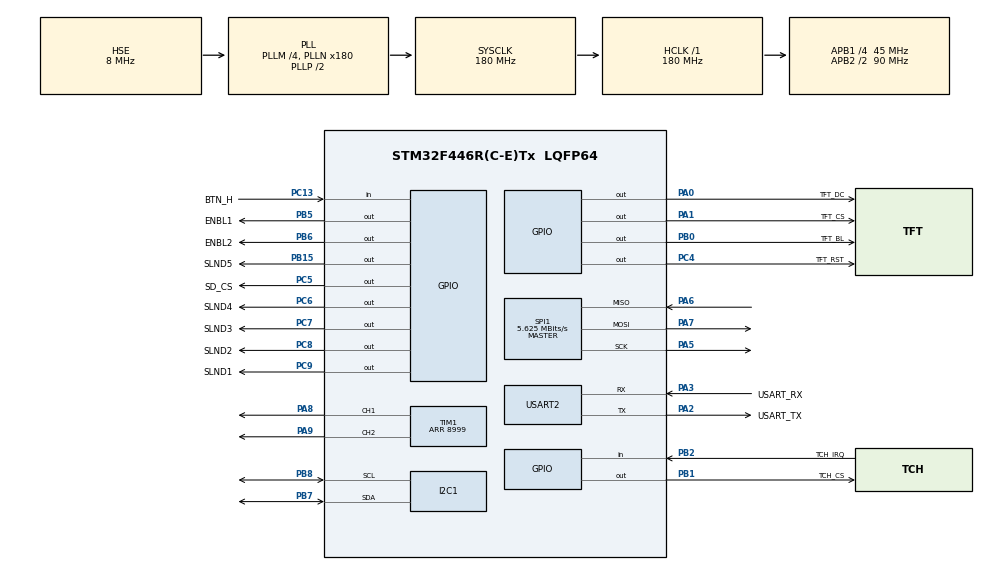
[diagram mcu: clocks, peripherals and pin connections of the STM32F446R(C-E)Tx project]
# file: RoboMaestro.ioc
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I2C1.I2C_Mode=I2C_Fast
Mcu.Family=STM32F4
Mcu.Name=STM32F446R(C-E)Tx
Mcu.Package=LQFP64
NVIC.PriorityGroup=NVIC_PRIORITYGROUP_0
NVIC.TIM3_IRQn=true\:0\:0\:false\:false\:true\:true\:true\:true
NVIC.USART2_IRQn=true\:0\:0\:false\:false\:true\:true\:true\:true
PA0-WKUP.GPIO_Label=TFT_DC
PA0-WKUP.Signal=GPIO_Output
PA1.GPIO_Label=TFT_CS
PA1.Signal=GPIO_Output
PA13.GPIO_Label=TMS
PA13.Mode=Serial_Wire
PA13.Signal=SYS_JTMS-SWDIO
PA14.GPIO_Label=TCK
PA14.Mode=Serial_Wire
PA14.Signal=SYS_JTCK-SWCLK
PA2.GPIO_Label=USART_TX
PA2.Mode=Asynchronous
PA2.Signal=USART2_TX
PA3.GPIO_Label=USART_RX
PA3.Mode=Asynchronous
PA3.Signal=USART2_RX
PA5.Mode=Full_Duplex_Master
PA5.Signal=SPI1_SCK
PA6.Mode=Full_Duplex_Master
PA6.Signal=SPI1_MISO
PA7.Mode=Full_Duplex_Master
PA7.Signal=SPI1_MOSI
PA8.Signal=S_TIM1_CH1
PA9.Signal=S_TIM1_CH2
PB0.GPIO_Label=TFT_BL
PB0.Signal=GPIO_Output
PB1.GPIO_Label=TCH_CS
PB1.Signal=GPIO_Output
PB15.GPIO_Label=SLND5
PB15.Signal=GPIO_Output
PB2.GPIO_Label=TCH_IRQ
PB2.GPIO_PuPd=GPIO_PULLUP
PB2.Signal=GPIO_Input
PB3.GPIO_Label=SWO
PB3.Signal=SYS_JTDO-SWO
PB5.GPIO_Label=ENBL1
PB5.Signal=GPIO_Output
PB6.GPIO_Label=ENBL2
PB6.Signal=GPIO_Output
PB7.Mode=I2C
PB7.Signal=I2C1_SDA
PB8.Mode=I2C
PB8.Signal=I2C1_SCL
PC13.GPIO_Label=BTN_H
PC13.Signal=GPIO_Input
PC14-OSC32_IN.Mode=LSE-External-Oscillator
PC14-OSC32_IN.Signal=RCC_OSC32_IN
PC15-OSC32_OUT.Mode=LSE-External-Oscillator
PC15-OSC32_OUT.Signal=RCC_OSC32_OUT
PC4.GPIO_Label=TFT_RST
PC4.Signal=GPIO_Output
PC5.GPIO_Label=SD_CS
PC5.Signal=GPIO_Output
PC6.GPIO_Label=SLND4
PC6.Signal=GPIO_Output
PC7.GPIO_Label=SLND3
PC7.Signal=GPIO_Output
PC8.GPIO_Label=SLND2
PC8.Signal=GPIO_Output
PC9.GPIO_Label=SLND1
PC9.Signal=GPIO_Output
PH0-OSC_IN.Mode=HSE-External-Oscillator
PH0-OSC_IN.Signal=RCC_OSC_IN
PH1-OSC_OUT.Mode=HSE-External-Oscillator
PH1-OSC_OUT.Signal=RCC_OSC_OUT
ProjectManager.HeapSize=0x200
ProjectManager.StackSize=0x400
ProjectManager.TargetToolchain=CMake
RCC.48MHZClocksFreq_Value=84000000
RCC.AHBFreq_Value=180000000
RCC.APB1CLKDivider=RCC_HCLK_DIV4
RCC.APB1Freq_Value=45000000
RCC.APB1TimFreq_Value=90000000
RCC.APB2CLKDivider=RCC_HCLK_DIV2
RCC.APB2Freq_Value=90000000
RCC.APB2TimFreq_Value=180000000
RCC.CortexFreq_Value=180000000
RCC.FLatency-AdvancedSettings=FLASH_LATENCY_5
RCC.HCLKFreq_Value=180000000
RCC.HSE_VALUE=8000000
RCC.HSI_VALUE=16000000
RCC.PLLM=4
RCC.PLLN=180
RCC.PLLSAIM=8
RCC.PLLSAIP=RCC_PLLSAIP_DIV4
RCC.PLLSourceVirtual=RCC_PLLSOURCE_HSE
RCC.SYSCLKFreq_VALUE=180000000
RCC.SYSCLKSource=RCC_SYSCLKSOURCE_PLLCLK
RCC.USBCLockSelection=RCC_CLK48CLKSOURCE_PLLSAIP
RCC.USBFreq_Value=48000000
RCC.VCOOutputFreq_Value=360000000
SH.S_TIM1_CH1.0=TIM1_CH1,PWM Generation1 CH1
SH.S_TIM1_CH2.0=TIM1_CH2,PWM Generation2 CH2
SPI1.BaudRatePrescaler=SPI_BAUDRATEPRESCALER_16
SPI1.CalculateBaudRate=5.625 MBits/s
SPI1.Direction=SPI_DIRECTION_2LINES
SPI1.Mode=SPI_MODE_MASTER
SPI1.VirtualType=VM_MASTER
TIM1.Channel-PWM\ Generation1\ CH1=TIM_CHANNEL_1
TIM1.Channel-PWM\ Generation2\ CH2=TIM_CHANNEL_2
TIM1.Period=8999
TIM3.Period=99
TIM3.Prescaler=8999
USART2.VirtualMode=VM_ASYNC
VP_TIM1_VS_ClockSourceINT.Mode=Internal
VP_TIM3_VS_ClockSourceINT.Mode=Internal
board=NUCLEO-F446RE

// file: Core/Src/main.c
/* USER CODE BEGIN Header */
/**
  ******************************************************************************
  * @file           : main.c
  * @brief          : Main program body
  ******************************************************************************
  * @attention
  *
  * Copyright (c) 2026 STMicroelectronics.
  * All rights reserved.
  *
  * This software is licensed under terms that can be found in the LICENSE file
  * in the root directory of this software component.
  * If no LICENSE file comes with this software, it is provided AS-IS.
  *
  ******************************************************************************
  */
/* USER CODE END Header */
#include "main.h"

/* USER CODE BEGIN Includes */
#include "as5600_position.h"
#include "motor_control.h"
#include "actuator.h"
#include "ili9341.h"
#include "xpt2046.h"
#include "menu.h"

#include <stdint.h>
#include <string.h>
/* USER CODE END Includes */

I2C_HandleTypeDef hi2c1;

SPI_HandleTypeDef hspi1;

TIM_HandleTypeDef htim1;
TIM_HandleTypeDef htim3;

UART_HandleTypeDef huart2;

/* USER CODE BEGIN PV */

static const GPIO_Pin_t g_fingers[5] = {
    {GPIOC, SLND1_Pin},
    {GPIOC, SLND2_Pin},
    {GPIOC, SLND3_Pin},
    {GPIOC, SLND4_Pin},
    {GPIOB, SLND5_Pin},
};

/* USER CODE END PV */

void SystemClock_Config(void);
static void MX_GPIO_Init(void);
static void MX_TIM1_Init(void);
static void MX_USART2_UART_Init(void);
static void MX_TIM3_Init(void);
static void MX_I2C1_Init(void);
static void MX_SPI1_Init(void);
/* USER CODE BEGIN PFP */
void MotorControl_ExtCommand(const char *cmd);
/* USER CODE END PFP */

/* USER CODE BEGIN 0 */

// SPI1 Shared for LCD, Touchscreen
static uint8_t spi1_txrx(uint8_t byte)
{
    uint8_t rx = 0;
    HAL_SPI_TransmitReceive(&hspi1, &byte, &rx, 1, HAL_MAX_DELAY);
    return rx;
}

// LCD GPIO
static void lcd_set_cs(int v)
{
    if (v) HAL_GPIO_WritePin(TFT_CS_GPIO_Port, TFT_CS_Pin, GPIO_PIN_SET);
    else   HAL_GPIO_WritePin(TFT_CS_GPIO_Port, TFT_CS_Pin, GPIO_PIN_RESET);
}

static void lcd_set_dc(int v)
{
    if (v) HAL_GPIO_WritePin(TFT_DC_GPIO_Port, TFT_DC_Pin, GPIO_PIN_SET);
    else   HAL_GPIO_WritePin(TFT_DC_GPIO_Port, TFT_DC_Pin, GPIO_PIN_RESET);
}

static void lcd_set_rst(int v)
{
    if (v) HAL_GPIO_WritePin(TFT_RST_GPIO_Port, TFT_RST_Pin, GPIO_PIN_SET);
    else   HAL_GPIO_WritePin(TFT_RST_GPIO_Port, TFT_RST_Pin, GPIO_PIN_RESET);
}

// Touch Screen GPIO
static void tch_set_cs(int v)
{
    if (v) HAL_GPIO_WritePin(TCH_CS_GPIO_Port, TCH_CS_Pin, GPIO_PIN_SET);
    else   HAL_GPIO_WritePin(TCH_CS_GPIO_Port, TCH_CS_Pin, GPIO_PIN_RESET);
}

static int tch_read_irq(void)
{
    return HAL_GPIO_ReadPin(TCH_IRQ_GPIO_Port, TCH_IRQ_Pin);
}

/* Strong override: drive solenoid finger from the test screen */
void menu_test_finger(int idx, bool on)
{
    if (idx < 0 || idx >= 5) return;
    Actuator_SetState(on ? GPIO_PIN_SET : GPIO_PIN_RESET, 1, g_fingers[idx]);
}
/* USER CODE END 0 */

int main(void)
{

  /* MCU Configuration--------------------------------------------------------*/

  /* Reset of all peripherals, Initializes the Flash interface and the Systick. */
  HAL_Init();

  /* Configure the system clock */
  SystemClock_Config();

  /* Initialize all configured peripherals */
  MX_GPIO_Init();
  MX_TIM1_Init();
  MX_USART2_UART_Init();
  MX_TIM3_Init();
  MX_I2C1_Init();
  MX_SPI1_Init();
  /* USER CODE BEGIN 2 */

  // Deassert all SPI CS pins before driving the bus
  lcd_set_cs(1);
  tch_set_cs(1);

  // Init LCD
  ILI9341_Config lcd_cfg = {
    .spi_txrx = spi1_txrx,
    .set_cs   = lcd_set_cs,
    .set_dc   = lcd_set_dc,
    .set_rst  = lcd_set_rst,
    .delay_ms = HAL_Delay,
    .rotation = ROTATION_0,
  };
  ili9341_init(&lcd_cfg);
  HAL_GPIO_WritePin(TFT_BL_GPIO_Port, TFT_BL_Pin, GPIO_PIN_SET);

  // Init touchscreen
  XPT2046_Config tch_cfg = {
    .spi_txrx = spi1_txrx,
    .set_cs   = tch_set_cs,
    .read_irq = tch_read_irq,
  };
  xpt2046_init(&tch_cfg);
  xpt2046_default_cal(ILI9341_WIDTH, ILI9341_HEIGHT);

  menu_init();

  // Init solenoid fingers
  Actuator_Init(5, g_fingers[0], g_fingers[1], g_fingers[2], g_fingers[3], g_fingers[4]);

  // Init AS5600 encoder and motor control
  AS5600_Init();
  MotorControl_Init();

  /* USER CODE END 2 */

  /* Infinite loop */
  while (1)
{

    /* USER CODE BEGIN 3 */
    MotorControl_Process();   /* handle UART commands + stream telemetry */
    menu_update();            /* poll touchscreen and update LCD menu     */
  }
  /* USER CODE END 3 */
}

void SystemClock_Config(void)
{
  RCC_OscInitTypeDef RCC_OscInitStruct = {0};
  RCC_ClkInitTypeDef RCC_ClkInitStruct = {0};

  /** Configure the main internal regulator output voltage
  */
  __HAL_RCC_PWR_CLK_ENABLE();
  __HAL_PWR_VOLTAGESCALING_CONFIG(PWR_REGULATOR_VOLTAGE_SCALE1);

  /** Initializes the RCC Oscillators according to the specified parameters
  * in the RCC_OscInitTypeDef structure.
  */
  RCC_OscInitStruct.OscillatorType = RCC_OSCILLATORTYPE_HSE;
  RCC_OscInitStruct.HSEState = RCC_HSE_ON;
  RCC_OscInitStruct.PLL.PLLState = RCC_PLL_ON;
  RCC_OscInitStruct.PLL.PLLSource = RCC_PLLSOURCE_HSE;
  RCC_OscInitStruct.PLL.PLLM = 4;
  RCC_OscInitStruct.PLL.PLLN = 180;
  RCC_OscInitStruct.PLL.PLLP = RCC_PLLP_DIV2;
  RCC_OscInitStruct.PLL.PLLQ = 2;
  RCC_OscInitStruct.PLL.PLLR = 2;
  if (HAL_RCC_OscConfig(&RCC_OscInitStruct) != HAL_OK)
  {
    Error_Handler();
  }

  /** Activate the Over-Drive mode
  */
  if (HAL_PWREx_EnableOverDrive() != HAL_OK)
  {
    Error_Handler();
  }

  /** Initializes the CPU, AHB and APB buses clocks
  */
  RCC_ClkInitStruct.ClockType = RCC_CLOCKTYPE_HCLK|RCC_CLOCKTYPE_SYSCLK
                              |RCC_CLOCKTYPE_PCLK1|RCC_CLOCKTYPE_PCLK2;
  RCC_ClkInitStruct.SYSCLKSource = RCC_SYSCLKSOURCE_PLLCLK;
  RCC_ClkInitStruct.AHBCLKDivider = RCC_SYSCLK_DIV1;
  RCC_ClkInitStruct.APB1CLKDivider = RCC_HCLK_DIV4;
  RCC_ClkInitStruct.APB2CLKDivider = RCC_HCLK_DIV2;

  if (HAL_RCC_ClockConfig(&RCC_ClkInitStruct, FLASH_LATENCY_5) != HAL_OK)
  {
    Error_Handler();
  }
}

static void MX_I2C1_Init(void)
{

  hi2c1.Instance = I2C1;
  hi2c1.Init.ClockSpeed = 400000;
  hi2c1.Init.DutyCycle = I2C_DUTYCYCLE_2;
  hi2c1.Init.OwnAddress1 = 0;
  hi2c1.Init.AddressingMode = I2C_ADDRESSINGMODE_7BIT;
  hi2c1.Init.DualAddressMode = I2C_DUALADDRESS_DISABLE;
  hi2c1.Init.OwnAddress2 = 0;
  hi2c1.Init.GeneralCallMode = I2C_GENERALCALL_DISABLE;
  hi2c1.Init.NoStretchMode = I2C_NOSTRETCH_DISABLE;
  if (HAL_I2C_Init(&hi2c1) != HAL_OK)
  {
    Error_Handler();
  }

}

static void MX_SPI1_Init(void)
{

  /* SPI1 parameter configuration*/
  hspi1.Instance = SPI1;
  hspi1.Init.Mode = SPI_MODE_MASTER;
  hspi1.Init.Direction = SPI_DIRECTION_2LINES;
  hspi1.Init.DataSize = SPI_DATASIZE_8BIT;
  hspi1.Init.CLKPolarity = SPI_POLARITY_LOW;
  hspi1.Init.CLKPhase = SPI_PHASE_1EDGE;
  hspi1.Init.NSS = SPI_NSS_SOFT;
  hspi1.Init.BaudRatePrescaler = SPI_BAUDRATEPRESCALER_16;
  hspi1.Init.FirstBit = SPI_FIRSTBIT_MSB;
  hspi1.Init.TIMode = SPI_TIMODE_DISABLE;
  hspi1.Init.CRCCalculation = SPI_CRCCALCULATION_DISABLE;
  hspi1.Init.CRCPolynomial = 10;
  if (HAL_SPI_Init(&hspi1) != HAL_OK)
  {
    Error_Handler();
  }

}

static void MX_TIM1_Init(void)
{

  TIM_ClockConfigTypeDef sClockSourceConfig = {0};
  TIM_MasterConfigTypeDef sMasterConfig = {0};
  TIM_OC_InitTypeDef sConfigOC = {0};
  TIM_BreakDeadTimeConfigTypeDef sBreakDeadTimeConfig = {0};

  htim1.Instance = TIM1;
  htim1.Init.Prescaler = 0;
  htim1.Init.CounterMode = TIM_COUNTERMODE_UP;
  htim1.Init.Period = 8999;
  htim1.Init.ClockDivision = TIM_CLOCKDIVISION_DIV1;
  htim1.Init.RepetitionCounter = 0;
  htim1.Init.AutoReloadPreload = TIM_AUTORELOAD_PRELOAD_DISABLE;
  if (HAL_TIM_Base_Init(&htim1) != HAL_OK)
  {
    Error_Handler();
  }
  sClockSourceConfig.ClockSource = TIM_CLOCKSOURCE_INTERNAL;
  if (HAL_TIM_ConfigClockSource(&htim1, &sClockSourceConfig) != HAL_OK)
  {
    Error_Handler();
  }
  if (HAL_TIM_PWM_Init(&htim1) != HAL_OK)
  {
    Error_Handler();
  }
  sMasterConfig.MasterOutputTrigger = TIM_TRGO_RESET;
  sMasterConfig.MasterSlaveMode = TIM_MASTERSLAVEMODE_DISABLE;
  if (HAL_TIMEx_MasterConfigSynchronization(&htim1, &sMasterConfig) != HAL_OK)
  {
    Error_Handler();
  }
  sConfigOC.OCMode = TIM_OCMODE_PWM1;
  sConfigOC.Pulse = 0;
  sConfigOC.OCPolarity = TIM_OCPOLARITY_HIGH;
  sConfigOC.OCNPolarity = TIM_OCNPOLARITY_HIGH;
  sConfigOC.OCFastMode = TIM_OCFAST_DISABLE;
  sConfigOC.OCIdleState = TIM_OCIDLESTATE_RESET;
  sConfigOC.OCNIdleState = TIM_OCNIDLESTATE_RESET;
  if (HAL_TIM_PWM_ConfigChannel(&htim1, &sConfigOC, TIM_CHANNEL_1) != HAL_OK)
  {
    Error_Handler();
  }
  if (HAL_TIM_PWM_ConfigChannel(&htim1, &sConfigOC, TIM_CHANNEL_2) != HAL_OK)
  {
    Error_Handler();
  }
  sBreakDeadTimeConfig.OffStateRunMode = TIM_OSSR_DISABLE;
  sBreakDeadTimeConfig.OffStateIDLEMode = TIM_OSSI_DISABLE;
  sBreakDeadTimeConfig.LockLevel = TIM_LOCKLEVEL_OFF;
  sBreakDeadTimeConfig.DeadTime = 0;
  sBreakDeadTimeConfig.BreakState = TIM_BREAK_DISABLE;
  sBreakDeadTimeConfig.BreakPolarity = TIM_BREAKPOLARITY_HIGH;
  sBreakDeadTimeConfig.AutomaticOutput = TIM_AUTOMATICOUTPUT_DISABLE;
  if (HAL_TIMEx_ConfigBreakDeadTime(&htim1, &sBreakDeadTimeConfig) != HAL_OK)
  {
    Error_Handler();
  }
  HAL_TIM_MspPostInit(&htim1);

}

static void MX_TIM3_Init(void)
{

  TIM_ClockConfigTypeDef sClockSourceConfig = {0};
  TIM_MasterConfigTypeDef sMasterConfig = {0};

  htim3.Instance = TIM3;
  htim3.Init.Prescaler = 8999;
  htim3.Init.CounterMode = TIM_COUNTERMODE_UP;
  htim3.Init.Period = 99;
  htim3.Init.ClockDivision = TIM_CLOCKDIVISION_DIV1;
  htim3.Init.AutoReloadPreload = TIM_AUTORELOAD_PRELOAD_DISABLE;
  if (HAL_TIM_Base_Init(&htim3) != HAL_OK)
  {
    Error_Handler();
  }
  sClockSourceConfig.ClockSource = TIM_CLOCKSOURCE_INTERNAL;
  if (HAL_TIM_ConfigClockSource(&htim3, &sClockSourceConfig) != HAL_OK)
  {
    Error_Handler();
  }
  sMasterConfig.MasterOutputTrigger = TIM_TRGO_RESET;
  sMasterConfig.MasterSlaveMode = TIM_MASTERSLAVEMODE_DISABLE;
  if (HAL_TIMEx_MasterConfigSynchronization(&htim3, &sMasterConfig) != HAL_OK)
  {
    Error_Handler();
  }

}

static void MX_USART2_UART_Init(void)
{

  huart2.Instance = USART2;
  huart2.Init.BaudRate = 115200;
  huart2.Init.WordLength = UART_WORDLENGTH_8B;
  huart2.Init.StopBits = UART_STOPBITS_1;
  huart2.Init.Parity = UART_PARITY_NONE;
  huart2.Init.Mode = UART_MODE_TX_RX;
  huart2.Init.HwFlowCtl = UART_HWCONTROL_NONE;
  huart2.Init.OverSampling = UART_OVERSAMPLING_16;
  if (HAL_UART_Init(&huart2) != HAL_OK)
  {
    Error_Handler();
  }

}

static void MX_GPIO_Init(void)
{
  GPIO_InitTypeDef GPIO_InitStruct = {0};

  /* GPIO Ports Clock Enable */
  __HAL_RCC_GPIOC_CLK_ENABLE();
  __HAL_RCC_GPIOH_CLK_ENABLE();
  __HAL_RCC_GPIOA_CLK_ENABLE();
  __HAL_RCC_GPIOB_CLK_ENABLE();

  /*Configure GPIO pin Output Level */
  HAL_GPIO_WritePin(GPIOA, TFT_DC_Pin|TFT_CS_Pin, GPIO_PIN_RESET);

  /*Configure GPIO pin Output Level */
  HAL_GPIO_WritePin(GPIOC, TFT_RST_Pin|SD_CS_Pin|SLND4_Pin|SLND3_Pin
                          |SLND2_Pin|SLND1_Pin, GPIO_PIN_RESET);

  /*Configure GPIO pin Output Level */
  HAL_GPIO_WritePin(GPIOB, TFT_BL_Pin|TCH_CS_Pin|SLND5_Pin|ENBL1_Pin
                          |ENBL2_Pin, GPIO_PIN_RESET);

  /*Configure GPIO pin : BTN_H_Pin */
  GPIO_InitStruct.Pin = BTN_H_Pin;
  GPIO_InitStruct.Mode = GPIO_MODE_INPUT;
  GPIO_InitStruct.Pull = GPIO_NOPULL;
  HAL_GPIO_Init(BTN_H_GPIO_Port, &GPIO_InitStruct);

  /*Configure GPIO pins : TFT_DC_Pin TFT_CS_Pin */
  GPIO_InitStruct.Pin = TFT_DC_Pin|TFT_CS_Pin;
  GPIO_InitStruct.Mode = GPIO_MODE_OUTPUT_PP;
  GPIO_InitStruct.Pull = GPIO_NOPULL;
  GPIO_InitStruct.Speed = GPIO_SPEED_FREQ_LOW;
  HAL_GPIO_Init(GPIOA, &GPIO_InitStruct);

  /*Configure GPIO pins : TFT_RST_Pin SD_CS_Pin SLND4_Pin SLND3_Pin
                           SLND2_Pin SLND1_Pin */
  GPIO_InitStruct.Pin = TFT_RST_Pin|SD_CS_Pin|SLND4_Pin|SLND3_Pin
                          |SLND2_Pin|SLND1_Pin;
  GPIO_InitStruct.Mode = GPIO_MODE_OUTPUT_PP;
  GPIO_InitStruct.Pull = GPIO_NOPULL;
  GPIO_InitStruct.Speed = GPIO_SPEED_FREQ_LOW;
  HAL_GPIO_Init(GPIOC, &GPIO_InitStruct);

  /*Configure GPIO pins : TFT_BL_Pin TCH_CS_Pin SLND5_Pin ENBL1_Pin
                           ENBL2_Pin */
  GPIO_InitStruct.Pin = TFT_BL_Pin|TCH_CS_Pin|SLND5_Pin|ENBL1_Pin
                          |ENBL2_Pin;
  GPIO_InitStruct.Mode = GPIO_MODE_OUTPUT_PP;
  GPIO_InitStruct.Pull = GPIO_NOPULL;
  GPIO_InitStruct.Speed = GPIO_SPEED_FREQ_LOW;
  HAL_GPIO_Init(GPIOB, &GPIO_InitStruct);

  /*Configure GPIO pin : TCH_IRQ_Pin */
  GPIO_InitStruct.Pin = TCH_IRQ_Pin;
  GPIO_InitStruct.Mode = GPIO_MODE_INPUT;
  GPIO_InitStruct.Pull = GPIO_PULLUP;
  HAL_GPIO_Init(TCH_IRQ_GPIO_Port, &GPIO_InitStruct);

}

/* USER CODE BEGIN 4 */

/* Route TIM3 overflow → motor PID ISR */
void HAL_TIM_PeriodElapsedCallback(TIM_HandleTypeDef *htim)
{
    if (htim->Instance == TIM3)
        MotorControl_TimerISR();
}

/* Route USART2 RX → motor UART ISR */
void HAL_UART_RxCpltCallback(UART_HandleTypeDef *huart)
{
    if (huart->Instance == USART2)
        MotorControl_UartISR();
}

/* LCD test commands dispatched from motor_control's "unknown command" path */
void MotorControl_ExtCommand(const char *cmd)
{
    if (strncmp(cmd, "lcd ", 4) == 0) {
        const char *arg = cmd + 4;

        if (strncmp(arg, "clear", 5) == 0) {
            ili9341_fill_screen(ILI9341_BLACK);
        }
        else if (strncmp(arg, "fill ", 5) == 0) {
            const char *color = arg + 5;
            uint16_t c = ILI9341_BLACK;
            if      (strncmp(color, "red",     3) == 0) c = ILI9341_RED;
            else if (strncmp(color, "green",   5) == 0) c = ILI9341_GREEN;
            else if (strncmp(color, "blue",    4) == 0) c = ILI9341_BLUE;
            else if (strncmp(color, "white",   5) == 0) c = ILI9341_WHITE;
            else if (strncmp(color, "yellow",  6) == 0) c = ILI9341_YELLOW;
            else if (strncmp(color, "cyan",    4) == 0) c = ILI9341_CYAN;
            else if (strncmp(color, "magenta", 7) == 0) c = ILI9341_MAGENTA;
            else if (strncmp(color, "orange",  6) == 0) c = ILI9341_ORANGE;
            else return;
            ili9341_fill_screen(c);
        }
        else if (strncmp(arg, "text ", 5) == 0) {
            const char *msg = arg + 5;
            ili9341_fill_screen(ILI9341_BLACK);
            ili9341_set_text_color(ILI9341_WHITE, ILI9341_BLACK);
            ili9341_set_font_scale(2);
            uint16_t tw = ili9341_string_width(msg);
            ili9341_draw_string((ILI9341_WIDTH - tw) / 2,
                                (ILI9341_HEIGHT / 2) - 8,
                                msg);
        }
        else if (strncmp(arg, "test", 4) == 0) {
            /* Colour-bar test pattern: 8 equal horizontal bands */
            uint16_t colors[] = {
                ILI9341_RED, ILI9341_GREEN,   ILI9341_BLUE,    ILI9341_YELLOW,
                ILI9341_CYAN, ILI9341_MAGENTA, ILI9341_WHITE,  ILI9341_ORANGE
            };
            uint16_t band = ILI9341_HEIGHT / 8;
            for (int i = 0; i < 8; i++)
                ili9341_fill_rect(0, (uint16_t)(i * band),
                                  ILI9341_WIDTH, band, colors[i]);
        }
    }
}

/* USER CODE END 4 */

void Error_Handler(void)
{
  __disable_irq();
  while (1)
  {
  }
}
